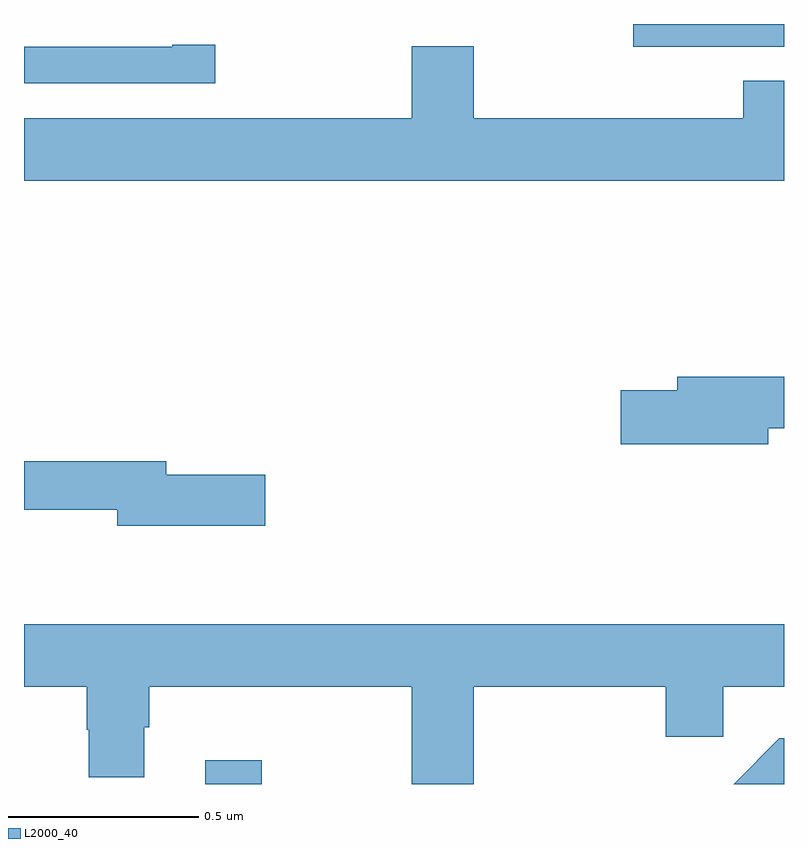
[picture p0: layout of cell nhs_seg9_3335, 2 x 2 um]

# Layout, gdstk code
import gdstk
lib = gdstk.Library(unit=1e-6, precision=1e-09)
def R(c, l, rs):  # rectangles x0, y0, x1, y1
    for r in rs: c.add(gdstk.rectangle(r[:2], r[2:], *l))
def P(c, l, *ps):  # polygons
    for p in ps: c.add(gdstk.Polygon(p, *l))
L2000_40 = (2000, 40)

nhs_seg9_3335 = lib.new_cell('nhs_seg9_3335')
R(nhs_seg9_3335, L2000_40, [(152.477,1193.5,152.626,1193.563), (153.603,1195.44,154,1195.5)])
P(nhs_seg9_3335, L2000_40, [(152.503,1195.445),(152.39,1195.445),(152.39,1195.44),(152,1195.44),(152,1195.344),(152.503,1195.344)],
  [(154,1195.351),(153.893,1195.351),(153.893,1195.252),(153.184,1195.252),(153.184,1195.441),(153.02,1195.441),(153.02,1195.252),(152,1195.252),(152,1195.088),(154,1195.088)],
  [(153.958,1194.436),(154,1194.436),(154,1194.572),(153.719,1194.572),(153.719,1194.536),(153.57,1194.536),(153.57,1194.394),(153.958,1194.394)],
  [(152.635,1194.314),(152.374,1194.314),(152.374,1194.35),(152,1194.35),(152,1194.222),(152.246,1194.222),(152.246,1194.179),(152.635,1194.179)],
  [(153.184,1193.756),(153.689,1193.756),(153.689,1193.625),(153.84,1193.625),(153.84,1193.756),(154,1193.756),(154,1193.92),(152,1193.92),(152,1193.756),(152.165,1193.756),(152.165,1193.643),(152.17,1193.643),(152.17,1193.518),(152.317,1193.518),(152.317,1193.65),(152.33,1193.65),(152.33,1193.756),(153.02,1193.756),(153.02,1193.5),(153.184,1193.5)],
  [(154,1193.62),(153.988,1193.62),(153.868,1193.5),(154,1193.5)])

lib.write_gds('nhs_seg9_3335.gds')
